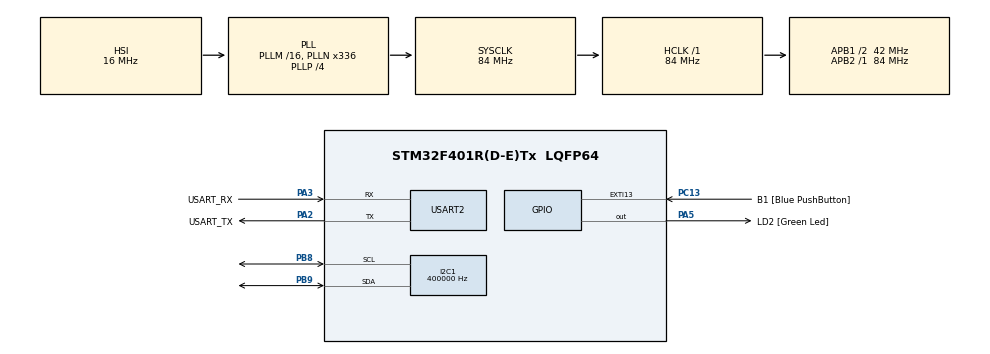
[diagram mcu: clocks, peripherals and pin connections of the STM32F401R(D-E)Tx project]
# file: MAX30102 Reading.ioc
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I2C1.ClockSpeed=400000
I2C1.I2C_Mode=I2C_Fast
Mcu.Family=STM32F4
Mcu.Name=STM32F401R(D-E)Tx
Mcu.Package=LQFP64
NVIC.PriorityGroup=NVIC_PRIORITYGROUP_0
PA13.GPIO_Label=TMS
PA13.Mode=Serial_Wire
PA13.Signal=SYS_JTMS-SWDIO
PA14.GPIO_Label=TCK
PA14.Mode=Serial_Wire
PA14.Signal=SYS_JTCK-SWCLK
PA2.GPIO_Label=USART_TX
PA2.GPIO_Mode=GPIO_MODE_AF_PP
PA2.GPIO_PuPd=GPIO_NOPULL
PA2.GPIO_Speed=GPIO_SPEED_FREQ_LOW
PA2.Mode=Asynchronous
PA2.Signal=USART2_TX
PA3.GPIO_Label=USART_RX
PA3.GPIO_Mode=GPIO_MODE_AF_PP
PA3.GPIO_PuPd=GPIO_NOPULL
PA3.GPIO_Speed=GPIO_SPEED_FREQ_LOW
PA3.Mode=Asynchronous
PA3.Signal=USART2_RX
PA5.GPIO_Label=LD2 [Green Led]
PA5.GPIO_Mode=GPIO_MODE_OUTPUT_PP
PA5.GPIO_PuPd=GPIO_NOPULL
PA5.GPIO_Speed=GPIO_SPEED_FREQ_LOW
PA5.Signal=GPIO_Output
PB3.GPIO_Label=SWO
PB3.Signal=SYS_JTDO-SWO
PB8.GPIO_Pu=GPIO_PULLUP
PB8.GPIO_Speed=GPIO_SPEED_FREQ_LOW
PB8.Mode=I2C
PB8.Signal=I2C1_SCL
PB9.GPIO_Pu=GPIO_PULLUP
PB9.GPIO_Speed=GPIO_SPEED_FREQ_LOW
PB9.Mode=I2C
PB9.Signal=I2C1_SDA
PC13-ANTI_TAMP.GPIO_Label=B1 [Blue PushButton]
PC13-ANTI_TAMP.GPIO_ModeDefaultEXTI=GPIO_MODE_IT_FALLING
PC13-ANTI_TAMP.GPIO_PuPd=GPIO_NOPULL
PC13-ANTI_TAMP.Signal=GPXTI13
PC14-OSC32_IN.Mode=LSE-External-Oscillator
PC14-OSC32_IN.Signal=RCC_OSC32_IN
PC15-OSC32_OUT.Mode=LSE-External-Oscillator
PC15-OSC32_OUT.Signal=RCC_OSC32_OUT
PH0\ -\ OSC_IN.Mode=HSE-External-Clock-Source
PH0\ -\ OSC_IN.Signal=RCC_OSC_IN
PH1\ -\ OSC_OUT.Mode=HSE-External-Clock-Source
PH1\ -\ OSC_OUT.Signal=RCC_OSC_OUT
ProjectManager.HeapSize=0x200
ProjectManager.StackSize=0x400
ProjectManager.TargetToolchain=STM32CubeIDE
RCC.48MHZClocksFreq_Value=48000000
RCC.AHBFreq_Value=84000000
RCC.APB1CLKDivider=RCC_HCLK_DIV2
RCC.APB1Freq_Value=42000000
RCC.APB1TimFreq_Value=84000000
RCC.APB2Freq_Value=84000000
RCC.APB2TimFreq_Value=84000000
RCC.CortexFreq_Value=84000000
RCC.HCLKFreq_Value=84000000
RCC.HSE_VALUE=8000000
RCC.HSI_VALUE=16000000
RCC.PLLN=336
RCC.PLLP=RCC_PLLP_DIV4
RCC.PLLQ=7
RCC.SYSCLKFreq_VALUE=84000000
RCC.SYSCLKSource=RCC_SYSCLKSOURCE_PLLCLK
RCC.VCOOutputFreq_Value=336000000
USART2.VirtualMode=VM_ASYNC
board=NUCLEO-F401RE

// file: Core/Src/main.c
/* USER CODE BEGIN Header */
/**
 ******************************************************************************
 * @file           : main.c
 * @brief          : Main program body
 ******************************************************************************
 * @attention
 *
 * Copyright (c) 2023 STMicroelectronics.
 * All rights reserved.
 *
 * This software is licensed under terms that can be found in the LICENSE file
 * in the root directory of this software component.
 * If no LICENSE file comes with this software, it is provided AS-IS.
 *
 ******************************************************************************
 */
/* USER CODE END Header */
#include "main.h"

/* USER CODE BEGIN Includes */
#include "BML_DEF.h"
#include "uart.h"
#include "MAX30102.h"
/* USER CODE END Includes */

/* USER CODE BEGIN PD */
#define DEBUG	0
/* USER CODE END PD */

I2C_HandleTypeDef hi2c1;

UART_HandleTypeDef huart2;

/* USER CODE BEGIN PV */

HAL_StatusTypeDef ret;

max30102_t max30102;

#define RATE_SIZE  8 //Increase this for more averaging. 4 is good.
uint8_t rates[RATE_SIZE]; //Array of heart rates
uint8_t rateSpot = 0;
long lastBeat = 0; //Time at which the last beat occurred

uint8_t beatsPerMinute;
int beatAvg;
/* USER CODE END PV */

void SystemClock_Config(void);
static void MX_GPIO_Init(void);
static void MX_USART2_UART_Init(void);
static void MX_I2C1_Init(void);
/* USER CODE BEGIN PFP */
void max30102_startSeq();
/* USER CODE END PFP */

int main(void) {

	/* MCU Configuration--------------------------------------------------------*/

	/* Reset of all peripherals, Initializes the Flash interface and the Systick. */
	HAL_Init();

	/* Configure the system clock */
	SystemClock_Config();

	/* Initialize all configured peripherals */
	MX_GPIO_Init();
	MX_USART2_UART_Init();
	MX_I2C1_Init();
	/* USER CODE BEGIN 2 */
	uart_print_config(9600);
	print("Working\n\r");

	max30102_startSeq();
	uint32_t ir = 0;
	uint32_t start = 0, end = 0;
	bool maxReady = true;
	/* USER CODE END 2 */

	/* Infinite loop */
	/* USER CODE BEGIN WHILE */
	while (1) {
		end = HAL_GetTick();
		if (max30102_update(&max30102) != true) {
			print("Error....Retrying\n\r");
			maxReady = false;
			max30102_startSeq();
			Delay(1000);
		}
//		if (maxReady) {
//			ir = max30102_getIR();
//			//		print("%d\n", ir);
//
//			if (checkForBeat(ir) == true && (ir > 10000)) {
//				//We sensed a beat!
//				long delta = HAL_GetTick() - lastBeat;
//				lastBeat = HAL_GetTick();
//
//				beatsPerMinute = 60 / (delta / 1000.0);
//
//				if (beatsPerMinute < 255 && beatsPerMinute > 20) {
//					rates[rateSpot++] = (uint8_t) beatsPerMinute; //Store this reading in the array
//					rateSpot %= RATE_SIZE; //Wrap variable
//
//					//Take average of readings
//					beatAvg = 0;
//					for (uint8_t x = 0; x < RATE_SIZE; x++)
//						beatAvg += rates[x];
//					beatAvg /= RATE_SIZE;
//				}
//			}
//
//			if (end - start > 500) {
//				print("IR= %d, BPM = %d, Avg BPM = %d ", ir, beatsPerMinute,
//						beatAvg);
//
//				if (ir < 10000) {
//					print("No Finger?");
//					beatsPerMinute = 0;
//					beatAvg = 0;
//				}
//				print(" \n\r");
//
//				start = end;
//			}

//		}

		/* USER CODE END WHILE */

	}
}

void SystemClock_Config(void) {
	RCC_OscInitTypeDef RCC_OscInitStruct = { 0 };
	RCC_ClkInitTypeDef RCC_ClkInitStruct = { 0 };

	/** Configure the main internal regulator output voltage
	 */
	__HAL_RCC_PWR_CLK_ENABLE();
	__HAL_PWR_VOLTAGESCALING_CONFIG(PWR_REGULATOR_VOLTAGE_SCALE2);

	/** Initializes the RCC Oscillators according to the specified parameters
	 * in the RCC_OscInitTypeDef structure.
	 */
	RCC_OscInitStruct.OscillatorType = RCC_OSCILLATORTYPE_HSI;
	RCC_OscInitStruct.HSIState = RCC_HSI_ON;
	RCC_OscInitStruct.HSICalibrationValue = RCC_HSICALIBRATION_DEFAULT;
	RCC_OscInitStruct.PLL.PLLState = RCC_PLL_ON;
	RCC_OscInitStruct.PLL.PLLSource = RCC_PLLSOURCE_HSI;
	RCC_OscInitStruct.PLL.PLLM = 16;
	RCC_OscInitStruct.PLL.PLLN = 336;
	RCC_OscInitStruct.PLL.PLLP = RCC_PLLP_DIV4;
	RCC_OscInitStruct.PLL.PLLQ = 7;
	if (HAL_RCC_OscConfig(&RCC_OscInitStruct) != HAL_OK) {
		Error_Handler();
	}

	/** Initializes the CPU, AHB and APB buses clocks
	 */
	RCC_ClkInitStruct.ClockType = RCC_CLOCKTYPE_HCLK | RCC_CLOCKTYPE_SYSCLK
			| RCC_CLOCKTYPE_PCLK1 | RCC_CLOCKTYPE_PCLK2;
	RCC_ClkInitStruct.SYSCLKSource = RCC_SYSCLKSOURCE_PLLCLK;
	RCC_ClkInitStruct.AHBCLKDivider = RCC_SYSCLK_DIV1;
	RCC_ClkInitStruct.APB1CLKDivider = RCC_HCLK_DIV2;
	RCC_ClkInitStruct.APB2CLKDivider = RCC_HCLK_DIV1;

	if (HAL_RCC_ClockConfig(&RCC_ClkInitStruct, FLASH_LATENCY_2) != HAL_OK) {
		Error_Handler();
	}
}

static void MX_I2C1_Init(void) {

	hi2c1.Instance = I2C1;
	hi2c1.Init.ClockSpeed = 400000;
	hi2c1.Init.DutyCycle = I2C_DUTYCYCLE_2;
	hi2c1.Init.OwnAddress1 = 0;
	hi2c1.Init.AddressingMode = I2C_ADDRESSINGMODE_7BIT;
	hi2c1.Init.DualAddressMode = I2C_DUALADDRESS_DISABLE;
	hi2c1.Init.OwnAddress2 = 0;
	hi2c1.Init.GeneralCallMode = I2C_GENERALCALL_DISABLE;
	hi2c1.Init.NoStretchMode = I2C_NOSTRETCH_DISABLE;
	if (HAL_I2C_Init(&hi2c1) != HAL_OK) {
		Error_Handler();
	}

}

static void MX_USART2_UART_Init(void) {

	huart2.Instance = USART2;
	huart2.Init.BaudRate = 115200;
	huart2.Init.WordLength = UART_WORDLENGTH_8B;
	huart2.Init.StopBits = UART_STOPBITS_1;
	huart2.Init.Parity = UART_PARITY_NONE;
	huart2.Init.Mode = UART_MODE_TX_RX;
	huart2.Init.HwFlowCtl = UART_HWCONTROL_NONE;
	huart2.Init.OverSampling = UART_OVERSAMPLING_16;
	if (HAL_UART_Init(&huart2) != HAL_OK) {
		Error_Handler();
	}

}

static void MX_GPIO_Init(void) {
	GPIO_InitTypeDef GPIO_InitStruct = { 0 };

	/* GPIO Ports Clock Enable */
	__HAL_RCC_GPIOC_CLK_ENABLE();
	__HAL_RCC_GPIOH_CLK_ENABLE();
	__HAL_RCC_GPIOA_CLK_ENABLE();
	__HAL_RCC_GPIOB_CLK_ENABLE();

	/*Configure GPIO pin Output Level */
	HAL_GPIO_WritePin(LD2_GPIO_Port, LD2_Pin, GPIO_PIN_RESET);

	/*Configure GPIO pin : B1_Pin */
	GPIO_InitStruct.Pin = B1_Pin;
	GPIO_InitStruct.Mode = GPIO_MODE_IT_FALLING;
	GPIO_InitStruct.Pull = GPIO_NOPULL;
	HAL_GPIO_Init(B1_GPIO_Port, &GPIO_InitStruct);

	/*Configure GPIO pin : LD2_Pin */
	GPIO_InitStruct.Pin = LD2_Pin;
	GPIO_InitStruct.Mode = GPIO_MODE_OUTPUT_PP;
	GPIO_InitStruct.Pull = GPIO_NOPULL;
	GPIO_InitStruct.Speed = GPIO_SPEED_FREQ_LOW;
	HAL_GPIO_Init(LD2_GPIO_Port, &GPIO_InitStruct);

}

/* USER CODE BEGIN 4 */
void max30102_startSeq() {

	uint8_t max30102Ret = true;

	if (max30102_init(&max30102, &hi2c1) != true) {
		print("Error Init: Max30102\n\r");
	} else {
		print("Init Successful: Max30102\n\r");
	}
	max30102Ret = max30102_reset(&max30102);

#if	DEBUG
	if (max30102Ret) {
		print("Success: max30102_reset\n\r");
	} else {
		print("Error: max30102_reset\n\r");
	}
#endif
	max30102Ret = max30102_clear_fifo(&max30102);

#if	DEBUG
	if (max30102Ret) {
		print("Success: max30102_clear_fifo\n\r");
	} else {
		print("Error: max30102_clear_fifo\n\r");
	}
#endif
	max30102Ret = max30102_set_fifo_config(&max30102, max30102_smp_ave_16, 1,
			7);

#if	DEBUG
	if (max30102Ret) {
		print("Success: max30102_set_fifo_config\n\r");
	} else {
		print("Error: max30102_set_fifo_config\n\r");
	}
#endif

	uint8_t tempInt, tempFrac;
	max30102Ret = max30102_read_temp(&max30102, &tempInt, &tempFrac);

#if	DEBUG
	if (max30102Ret) {
		print("Success: max30102_read_temp\n\r");
	} else {
		print("Error: max30102_read_temp\n\r");
	}
#endif
	print("Temp: %d.%d\n\r", tempInt, tempFrac);

	// Sensor settings
	max30102Ret = max30102_set_led_pulse_width(&max30102, max30102_pw_16_bit);

#if	DEBUG
	if (max30102Ret) {
		print("Success: max30102_set_led_pulse_width\n\r");
	} else {
		print("Error: max30102_set_led_pulse_width\n\r");
	}
#endif
	max30102Ret = max30102_set_adc_resolution(&max30102, max30102_adc_8192);

#if	DEBUG
	if (max30102Ret) {
		print("Success: max30102_set_adc_resolution\n\r");
	} else {
		print("Error: max30102_set_adc_resolution\n\r");
	}
#endif
	max30102Ret = max30102_set_sampling_rate(&max30102, max30102_sr_800);

#if	DEBUG
	if (max30102Ret) {
		print("Success: max30102_set_sampling_rate\n\r");
	} else {
		print("Error: max30102_set_sampling_rate\n\r");
	}
#endif
	max30102Ret = max30102_set_led_current_1(&max30102, 0x19);

#if	DEBUG
	if (max30102Ret) {
		print("Success: max30102_set_led_current_1\n\r");
	} else {
		print("Error: max30102_set_led_current_1\n\r");
	}
#endif
	max30102Ret = max30102_set_led_current_2(&max30102, 0x19);

#if	DEBUG
	if (max30102Ret) {
		print("Success: max30102_set_led_current_2\n\r");
	} else {
		print("Error: max30102_set_led_current_2\n\r");
	}
#endif

	// Enter SpO2 mode
	max30102Ret = max30102_set_mode(&max30102, max30102_spo2);

#if	DEBUG
	if (max30102Ret) {
		print("Success: max30102_set_mode\n\r");
	} else {
		print("Error: max30102_set_mode\n\r");
	}
#endif
	max30102Ret = max30102_set_a_full(&max30102, 1);

#if	DEBUG
	if (max30102Ret) {
		print("Success: max30102_set_a_full\n\r");
	} else {
		print("Error: max30102_set_a_full\n\r");
	}
#endif

	// Initiate 1 temperature measurement
	max30102Ret = max30102_set_die_temp_en(&max30102, 1);

#if	DEBUG
	if (max30102Ret) {
		print("Success: max30102_set_die_temp_en\n\r");
	} else {
		print("Error: max30102_set_die_temp_en\n\r");
	}
#endif
	max30102Ret = max30102_set_die_temp_rdy(&max30102, 1);

#if	DEBUG
	if (max30102Ret) {
		print("Success: max30102_set_die_temp_rdy\n\r");
	} else {
		print("Error: max30102_set_die_temp_rdy\n\r");
	}
#endif

	uint8_t en_reg[2] = { 0 };
	max30102Ret = max30102_readByte(&max30102, 0x00, en_reg);

#if	DEBUG
	if (max30102Ret) {
		print("Success: max30102_readByte\n\r");
	} else {
		print("Error: max30102_readByte\n\r");
	}
#endif
}
/* USER CODE END 4 */

void Error_Handler(void) {
	__disable_irq();
	while (1) {
	}
}
